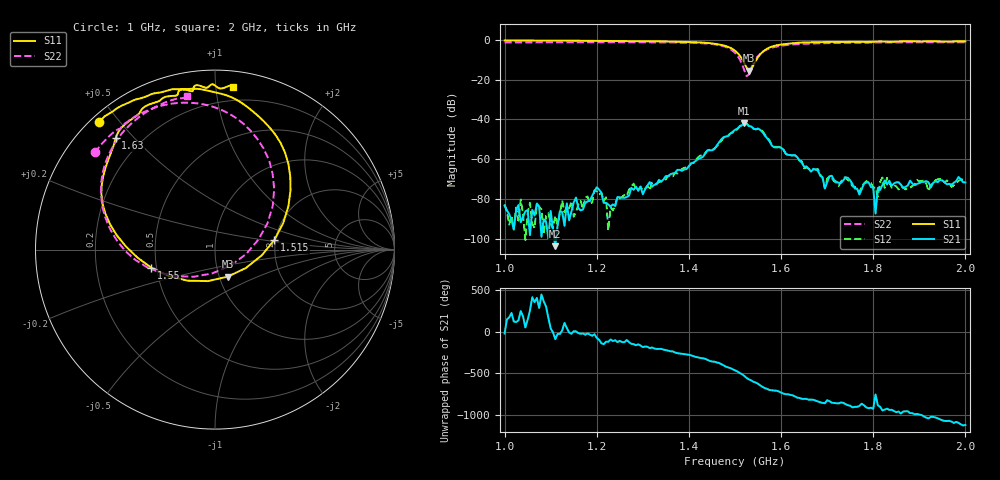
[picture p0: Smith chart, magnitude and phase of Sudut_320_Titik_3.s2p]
# Hz S RI R 50
! CMT, C1220, 16058040, 17.2.0/1
! Date: 14/08/2018 12:41:37
! Data: Format (Calibration Info)
! Freq  S11: Re/Im (F2)  S21: Re/Im (F2)  S12: Re/Im (F2)  S22: Re/Im (F2)
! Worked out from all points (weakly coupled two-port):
!   201 points, 1 GHz to 2 GHz, reference 50 ohm
!   highest |S21| = -41.83 dB at 1.52 GHz (marker M1); lowest = -103.7 dB at 1.11 GHz (marker M2)
!   lowest |S11| = -15.6 dB at 1.53 GHz (marker M3), VSWR 1.40, Z = 54.9 - j17 ohm
!   |S11| at or under -10 dB: 1.516 GHz to 1.546 GHz (30.19 MHz wide, 1.97 % of centre)
!   |S22| runs from -18.2 to -1.2 dB; largest |S21 - S12| = 0.00035
!   S11 on the Smith chart (normalised r, x): 1 GHz: 0.02, +0.44; 1.515 GHz: 1.97, +0.24; 1.55 GHz: 0.47, -0.11; 1.63 GHz: 0.11, +0.44; 2 GHz: 0.10, +1.11
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1e9  -0.648 0.7136  6.23e-05 -2.66e-05  -6.56e-05 3.32e-05  -0.6706 0.5415
1.11e9  -0.5427 0.7892  -2.78e-08 -6.55e-06  -5.49e-06 -3.75e-05  -0.6045 0.6164
1.17e9  -0.4737 0.8223  5.03e-05 -2.09e-05  4.99e-05 -2.63e-05  -0.5582 0.6589
1.2e9  -0.4326 0.8385  4.57e-05 -0.000192  4.98e-05 -0.000144  -0.5295 0.6728
1.215e9  -0.4162 0.8425  -7.09e-05 -3.79e-05  -2.89e-05 -8.4e-05  -0.5237 0.6807
1.3e9  -0.2679 0.8852  -0.000131 1.48e-05  -0.000163 3.57e-05  -0.429 0.7504
1.335e9  -0.2121 0.8932  -0.000265 0.000148  -0.000213 0.000161  -0.3737 0.776
1.45e9  0.1844 0.7914  0.00168 7.63e-06  0.00172 -9.5e-05  0.0192 0.7847
1.5e9  0.4207 0.3298  -0.00167 -0.00522  -0.00156 -0.00489  0.33 0.3366
1.515e9  0.3308 0.0537  -0.00634 -0.00333  -0.00635 -0.0035  0.2418 0.0557
1.52e9  0.261 -0.0315  -0.00802 -0.00111  -0.00807 -0.00121  0.1723 -0.0262
1.53e9  0.071 -0.1508  -0.00566 0.00378  -0.00569 0.00384  -0.0144 -0.1322
1.55e9  -0.3552 -0.1009  -0.000192 0.00587  -0.000408 0.00585  -0.3807 -0.0972
1.63e9  -0.5531 0.6213  0.000657 -0.00109  0.000679 -0.00105  -0.6158 0.4646
1.67e9  -0.4382 0.7453  -9.56e-05 -0.000566  -9.99e-05 -0.000547  -0.5638 0.5832
1.695e9  -0.4045 0.7852  -0.000144 -0.000116  -0.000121 -0.000142  -0.5312 0.6315
1.745e9  -0.2973 0.8396  -0.000333 -8.8e-05  -0.000299 -2.29e-05  -0.4645 0.7041
1.77e9  -0.2365 0.8563  -0.000129 -1.5e-05  -0.000145 -3.26e-05  -0.4339 0.7297
1.79e9  -0.2073 0.8659  -0.000243 9.93e-05  -0.000254 6.7e-05  -0.4084 0.7476
1.805e9  -0.1988 0.8869  3.46e-05 -2.59e-05  -0.000159 0.00011  -0.3904 0.7608
1.835e9  -0.1335 0.8827  -0.000213 0.000195  -0.000189 0.000182  -0.3551 0.7823
2e9  0.1014 0.9069  0.000191 -0.000178  0.00017 -0.000231  -0.156 0.8541
